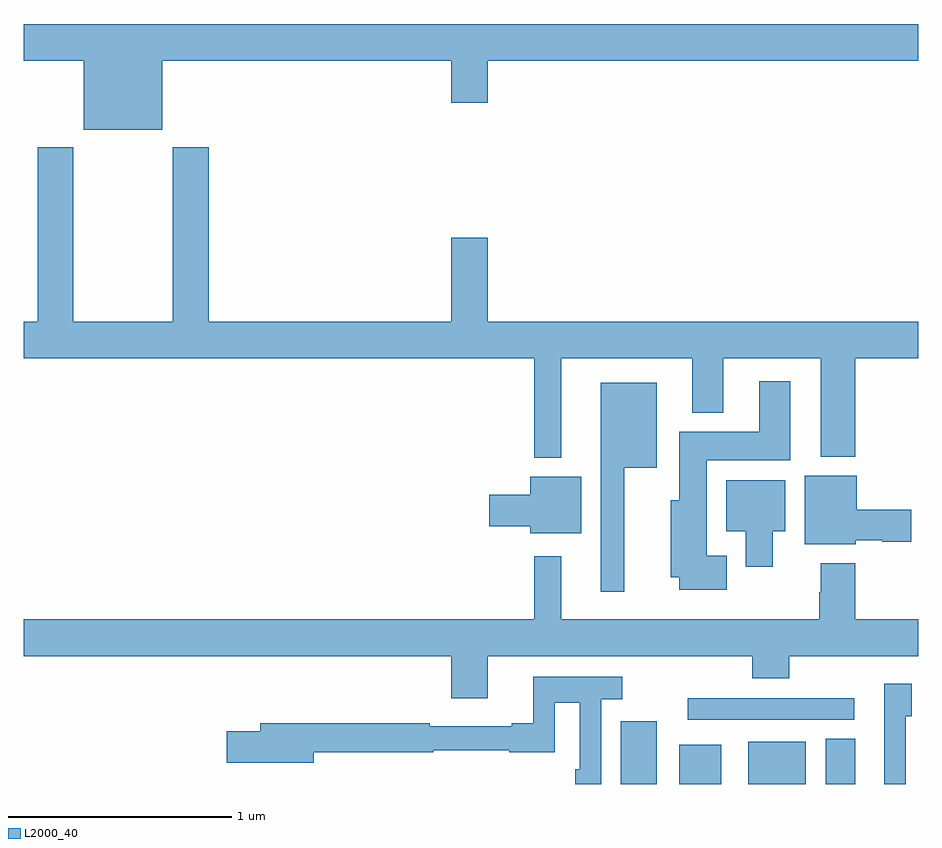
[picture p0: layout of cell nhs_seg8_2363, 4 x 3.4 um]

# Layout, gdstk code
import gdstk
lib = gdstk.Library(unit=1e-6, precision=1e-09)
def R(c, l, rs):  # rectangles x0, y0, x1, y1
    for r in rs: c.add(gdstk.rectangle(r[:2], r[2:], *l))
def P(c, l, *ps):  # polygons
    for p in ps: c.add(gdstk.Polygon(p, *l))
L2000_40 = (2000, 40)

nhs_seg8_2363 = lib.new_cell('nhs_seg8_2363')
R(nhs_seg8_2363, L2000_40, [(261.671,1143.9,261.832,1144.18), (261.932,1143.9,262.12,1144.075), (262.241,1143.9,262.498,1144.09), (262.586,1143.9,262.72,1144.103), (261.969,1144.188,262.714,1144.284)])
P(nhs_seg8_2363, L2000_40, [(259.618,1147.136),(260.912,1147.136),(260.912,1146.948),(261.076,1146.948),(261.076,1147.136),(263,1147.136),(263,1147.3),(259,1147.3),(259,1147.136),(259.268,1147.136),(259.268,1146.827),(259.618,1146.827)],
  [(261.403,1145.804),(261.989,1145.804),(261.989,1145.561),(262.129,1145.561),(262.129,1145.804),(262.565,1145.804),(262.565,1145.363),(262.718,1145.363),(262.718,1145.804),(263,1145.804),(263,1145.968),(261.076,1145.968),(261.076,1146.343),(260.912,1146.343),(260.912,1145.968),(259.826,1145.968),(259.826,1146.748),(259.666,1146.748),(259.666,1145.968),(259.221,1145.968),(259.221,1146.748),(259.061,1146.748),(259.061,1145.968),(259,1145.968),(259,1145.804),(261.282,1145.804),(261.282,1145.36),(261.403,1145.36)],
  [(262.144,1144.921),(262.054,1144.921),(262.054,1145.348),(262.429,1145.348),(262.429,1145.701),(262.289,1145.701),(262.289,1145.476),(261.932,1145.476),(261.932,1145.17),(261.893,1145.17),(261.893,1144.826),(261.932,1144.826),(261.932,1144.769),(262.144,1144.769)],
  [(261.685,1145.315),(261.832,1145.315),(261.832,1145.695),(261.581,1145.695),(261.581,1144.761),(261.685,1144.761)],
  [(262.722,1144.991),(262.839,1144.991),(262.839,1144.984),(262.969,1144.984),(262.969,1145.126),(262.726,1145.126),(262.726,1145.278),(262.493,1145.278),(262.493,1144.973),(262.722,1144.973)],
  [(261.493,1145.275),(261.266,1145.275),(261.266,1145.195),(261.081,1145.195),(261.081,1145.053),(261.266,1145.053),(261.266,1145.021),(261.493,1145.021)],
  [(262.351,1145.03),(262.405,1145.03),(262.405,1145.26),(262.142,1145.26),(262.142,1145.03),(262.229,1145.03),(262.229,1144.872),(262.351,1144.872)],
  [(261.076,1144.472),(262.259,1144.472),(262.259,1144.373),(262.424,1144.373),(262.424,1144.472),(263,1144.472),(263,1144.636),(262.718,1144.636),(262.718,1144.888),(262.565,1144.888),(262.565,1144.757),(262.558,1144.757),(262.558,1144.636),(261.403,1144.636),(261.403,1144.918),(261.282,1144.918),(261.282,1144.636),(259,1144.636),(259,1144.472),(260.912,1144.472),(260.912,1144.284),(261.076,1144.284)],
  [(261.582,1144.28),(261.676,1144.28),(261.676,1144.38),(261.278,1144.38),(261.278,1144.171),(261.182,1144.171),(261.182,1144.158),(260.816,1144.158),(260.816,1144.171),(260.057,1144.171),(260.057,1144.137),(259.908,1144.137),(259.908,1143.995),(260.296,1143.995),(260.296,1144.042),(260.832,1144.042),(260.832,1144.05),(261.172,1144.05),(261.172,1144.042),(261.375,1144.042),(261.375,1144.264),(261.486,1144.264),(261.486,1143.965),(261.466,1143.965),(261.466,1143.9),(261.582,1143.9)],
  [(262.944,1144.203),(262.971,1144.203),(262.971,1144.348),(262.848,1144.348),(262.848,1143.9),(262.944,1143.9)])

lib.write_gds('nhs_seg8_2363.gds')
